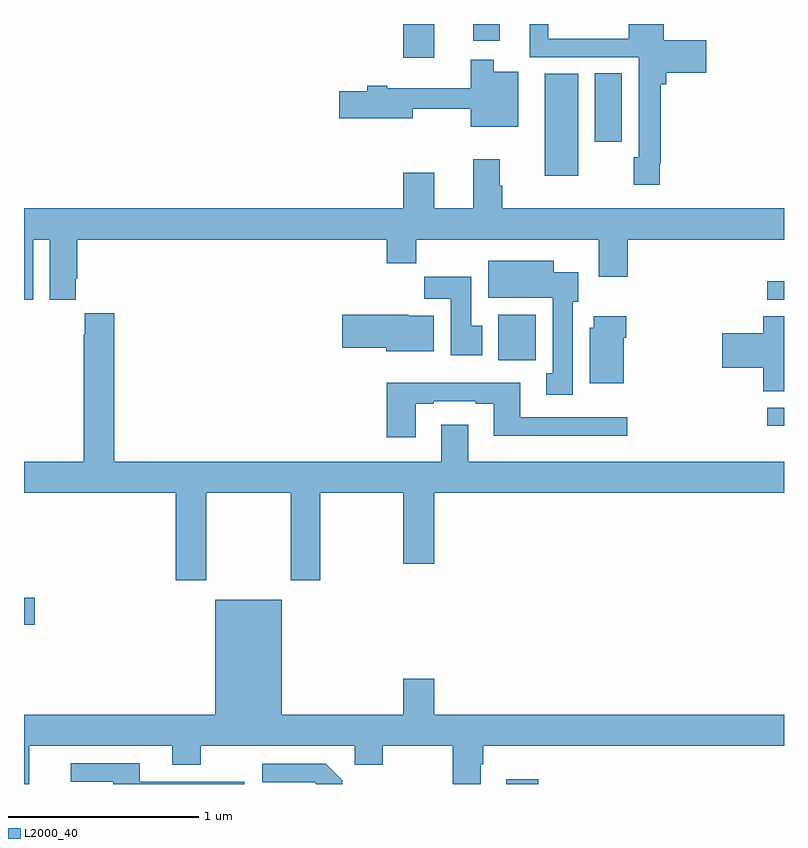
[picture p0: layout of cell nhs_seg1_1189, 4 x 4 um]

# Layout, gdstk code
import gdstk
lib = gdstk.Library(unit=1e-6, precision=1e-09)
def R(c, l, rs):  # rectangles x0, y0, x1, y1
    for r in rs: c.add(gdstk.rectangle(r[:2], r[2:], *l))
def P(c, l, *ps):  # polygons
    for p in ps: c.add(gdstk.Polygon(p, *l))
L2000_40 = (2000, 40)

nhs_seg1_1189 = lib.new_cell('nhs_seg1_1189')
R(nhs_seg1_1189, L2000_40, [(177.539,550.199,177.707,550.225), (175,551.038,175.057,551.18), (178.911,552.084,179,552.18), (177.497,552.428,177.694,552.67), (178.911,552.747,179,552.846), (177.74,553.4,177.916,553.936), (178.004,553.578,178.147,553.94), (176.996,554.022,177.16,554.199), (177.365,554.112,177.505,554.199)])
P(nhs_seg1_1189, L2000_40, [(178.345,553.465),(178.352,553.465),(178.352,553.883),(178.379,553.883),(178.379,553.943),(178.591,553.943),(178.591,554.113),(178.366,554.113),(178.366,554.199),(178.184,554.199),(178.184,554.121),(177.76,554.121),(177.76,554.199),(177.662,554.199),(177.662,554.025),(178.236,554.025),(178.236,553.497),(178.21,553.497),(178.21,553.353),(178.345,553.353)],
  [(177.601,553.948),(177.472,553.948),(177.472,554.011),(177.35,554.011),(177.35,553.861),(176.911,553.861),(176.911,553.874),(176.807,553.874),(176.807,553.844),(176.658,553.844),(176.658,553.702),(177.046,553.702),(177.046,553.752),(177.35,553.752),(177.35,553.658),(177.601,553.658)],
  [(175.048,553.064),(175.136,553.064),(175.136,552.747),(175.273,552.747),(175.273,552.859),(175.28,552.859),(175.28,553.064),(176.909,553.064),(176.909,552.94),(177.065,552.94),(177.065,553.064),(178.025,553.064),(178.025,552.87),(178.178,552.87),(178.178,553.064),(179,553.064),(179,553.228),(177.518,553.228),(177.518,553.349),(177.505,553.349),(177.505,553.486),(177.365,553.486),(177.365,553.228),(177.16,553.228),(177.16,553.417),(176.996,553.417),(176.996,553.228),(175,553.228),(175,552.747),(175.048,552.747)],
  [(177.889,552.738),(177.916,552.738),(177.916,552.892),(177.787,552.892),(177.787,552.952),(177.443,552.952),(177.443,552.758),(177.782,552.758),(177.782,552.362),(177.749,552.362),(177.749,552.249),(177.889,552.249)],
  [(177.412,552.612),(177.355,552.612),(177.355,552.87),(177.106,552.87),(177.106,552.752),(177.245,552.752),(177.245,552.456),(177.412,552.456)],
  [(175.475,552.676),(175.319,552.676),(175.319,552.563),(175.315,552.563),(175.315,551.896),(175,551.896),(175,551.732),(175.799,551.732),(175.799,551.271),(175.959,551.271),(175.959,551.732),(176.404,551.732),(176.404,551.271),(176.559,551.271),(176.559,551.732),(176.996,551.732),(176.996,551.358),(177.16,551.358),(177.16,551.732),(179,551.732),(179,551.896),(177.337,551.896),(177.337,552.091),(177.197,552.091),(177.197,551.896),(175.475,551.896)],
  [(177.157,552.664),(177.024,552.664),(177.024,552.67),(176.676,552.67),(176.676,552.494),(176.906,552.494),(176.906,552.476),(177.157,552.476)],
  [(179,552.662),(178.892,552.662),(178.892,552.572),(178.674,552.572),(178.674,552.389),(178.892,552.389),(178.892,552.265),(179,552.265)],
  [(178.156,552.548),(178.169,552.548),(178.169,552.661),(177.998,552.661),(177.998,552.6),(177.977,552.6),(177.977,552.308),(178.156,552.308)],
  [(177.061,552.201),(177.157,552.201),(177.157,552.213),(177.377,552.213),(177.377,552.201),(177.473,552.201),(177.473,552.032),(178.174,552.032),(178.174,552.129),(177.613,552.129),(177.613,552.31),(176.909,552.31),(176.909,552.024),(177.061,552.024)],
  [(175.027,550.4),(175.781,550.4),(175.781,550.301),(175.929,550.301),(175.929,550.4),(176.742,550.4),(176.742,550.301),(176.889,550.301),(176.889,550.4),(177.256,550.4),(177.256,550.201),(177.263,550.201),(177.263,550.199),(177.403,550.199),(177.403,550.304),(177.416,550.304),(177.416,550.4),(179,550.4),(179,550.564),(177.16,550.564),(177.16,550.753),(176.996,550.753),(176.996,550.564),(176.356,550.564),(176.356,551.17),(176.006,551.17),(176.006,550.564),(175,550.564),(175,550.199),(175.027,550.199)],
  [(176.16,550.212),(175.609,550.212),(175.609,550.308),(175.245,550.308),(175.245,550.212),(175.469,550.212),(175.469,550.199),(176.16,550.199)],
  [(176.676,550.218),(176.589,550.305),(176.253,550.305),(176.253,550.209),(176.529,550.209),(176.539,550.199),(176.676,550.199)])

lib.write_gds('nhs_seg1_1189.gds')
